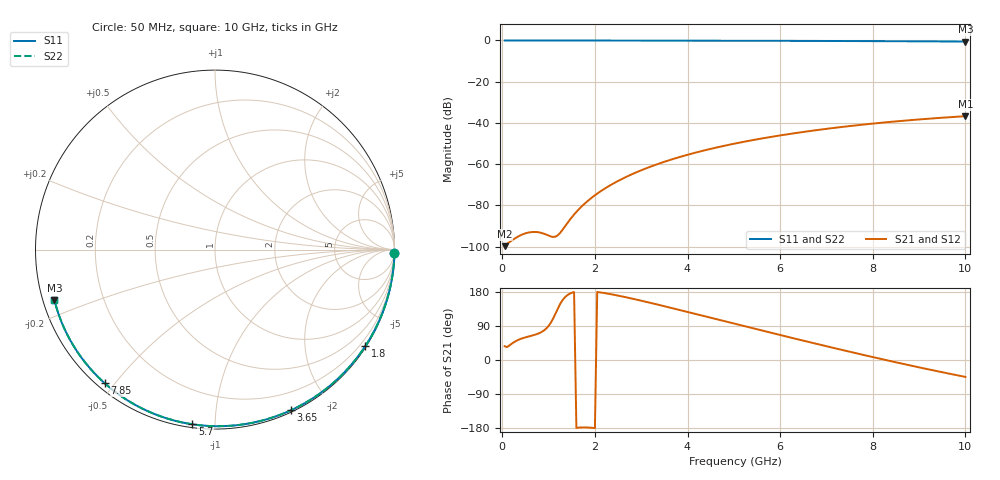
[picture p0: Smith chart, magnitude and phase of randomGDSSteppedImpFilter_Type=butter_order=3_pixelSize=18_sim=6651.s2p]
! freq	dB(S11)	phase(S11)	dB(S12)	phase(S12)
!  dB(S21)	phase(S21)	dB(S22)	phase(S22)
!S-par simulation data
#  GHz  S  DB  R 50
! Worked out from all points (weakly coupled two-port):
!   200 points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, 50 MHz to 10 GHz, reference 50 ohm
!   highest |S21| = -36.73 dB at 10 GHz (marker M1); lowest = -99.8 dB at 50 MHz (marker M2)
!   lowest |S11| = -0.6 dB at 10 GHz (marker M3), VSWR 31.25, Z = 1.64 - j7.68 ohm
!   |S11| at or under -10 dB: nowhere
!   |S22| runs from -0.6 to 0.0 dB; largest |S21 - S12| = 0
!   S11 on the Smith chart (normalised r, x): 50 MHz: open; 1.8 GHz: 0.03, -3.40; 3.65 GHz: 0.02, -1.58; 5.7 GHz: 0.02, -0.88; 7.85 GHz: 0.02, -0.47; 10 GHz: 0.03, -0.15
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0.05  -0.00 -0.9  -99.80 36.4  -99.80 36.4  -0.00 -0.9
0.45  -0.01 -8.3  -93.97 57.9  -93.97 57.9  -0.01 -8.3
0.85  -0.02 -15.7  -93.39 74.0  -93.39 74.0  -0.02 -15.7
1.7  -0.04 -31.0  -80.82 -178.0  -80.82 -178.0  -0.04 -31.0
1.75  -0.04 -31.9  -79.75 -177.8  -79.75 -177.8  -0.04 -31.9
1.8  -0.04 -32.8  -78.73 -177.9  -78.73 -177.9  -0.04 -32.8
1.95  -0.04 -35.4  -75.95 -179.1  -75.95 -179.1  -0.04 -35.4
2.1  -0.05 -38.1  -73.52 178.7  -73.52 178.7  -0.05 -38.1
2.3  -0.05 -41.6  -70.66 174.7  -70.66 174.7  -0.05 -41.6
2.5  -0.06 -45.1  -68.16 170.0  -68.16 170.0  -0.06 -45.1
2.9  -0.07 -52.0  -63.91 159.3  -63.91 159.3  -0.07 -52.0
3.4  -0.08 -60.5  -59.61 144.9  -59.61 144.9  -0.08 -60.5
3.65  -0.09 -64.7  -57.77 137.4  -57.77 137.4  -0.09 -64.7
4.3  -0.11 -75.3  -53.68 117.6  -53.68 117.6  -0.11 -75.3
5.05  -0.13 -87.3  -49.89 94.6  -49.89 94.6  -0.13 -87.3
5.7  -0.16 -97.3  -47.18 74.9  -47.18 74.9  -0.16 -97.3
6.7  -0.22 -112.5  -43.76 45.1  -43.76 45.1  -0.22 -112.5
7.25  -0.26 -120.6  -42.18 29.1  -42.18 29.1  -0.26 -120.6
7.85  -0.31 -129.5  -40.67 11.9  -40.67 11.9  -0.31 -129.5
8.35  -0.35 -136.9  -39.57 -2.0  -39.57 -2.0  -0.35 -136.9
9.2  -0.45 -149.8  -37.97 -24.7  -37.97 -24.7  -0.45 -149.8
10  -0.56 -162.5  -36.73 -44.6  -36.73 -44.6  -0.56 -162.5
